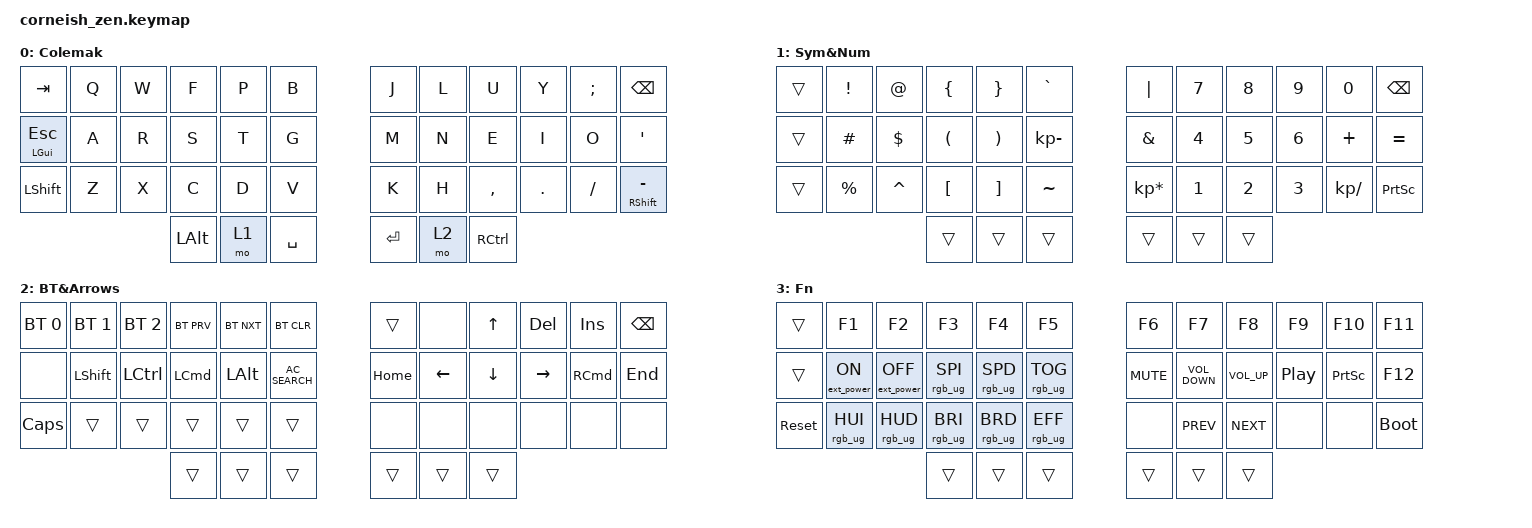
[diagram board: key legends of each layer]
/*
 * Copyright (c) 2020 The ZMK Contributors
 *
 * SPDX-License-Identifier: MIT
 */

#include <behaviors.dtsi>
#include <dt-bindings/zmk/bt.h>
#include <dt-bindings/zmk/ext_power.h>
#include <dt-bindings/zmk/keys.h>
#include <dt-bindings/zmk/rgb.h>

/ {
    chosen {
        zmk,matrix_transform = &default_transform;

        // zmk,matrix_transform = &five_column_transform;
    };
};

/ {
    behaviors {
        td0: td0 {
            compatible = "zmk,behavior-tap-dance";
            label = "TD0";
            #binding-cells = <0>;
            bindings = <&kp LEFT_SHIFT>, <&kp CAPS>;
        };
    };

    keymap {
        compatible = "zmk,keymap";

        default_layer {
            display-name = "Colemak";

            // --------------------------------------------------------------------------------
            // |  TAB |  Q  |  W  |  E  |  R  |  T  |   |  Y  |  U   |  I  |  O  |  P  | BKSP |
            // | CTRL |  A  |  S  |  D  |  F  |  G  |   |  H  |  J   |  K  |  L  |  ;  |  '   | 
            // | SHFT |  Z  |  X  |  C  |  V  |  B  |   |  N  |  M   |  ,  |  .  |  /  | ESC  |
            //                    | GUI | LWR | SPC |   | ENT | RSE  | ALT |

            bindings = <
&kp TAB           &kp Q  &kp W  &kp F     &kp P  &kp B        &kp J      &kp L  &kp U      &kp Y    &kp SEMICOLON  &kp BSPC
&mt LEFT_GUI ESC  &kp A  &kp R  &kp S     &kp T  &kp G        &kp M      &kp N  &kp E      &kp I    &kp O          &kp SQT
&kp LSHIFT        &kp Z  &kp X  &kp C     &kp D  &kp V        &kp K      &kp H  &kp COMMA  &kp DOT  &kp FSLH       &mt RIGHT_SHIFT MINUS
                                &kp LALT  &mo 1  &kp SPACE    &kp ENTER  &mo 2  &kp RCTRL
            >;
        };

        lower_layer {
            display-name = "Sym&Num";

            // -----------------------------------------------------------------------------------------
            // |  TAB |  1  |  2  |  3  |  4  |  5  |   |  6  |  7  |  8  |  9  |  0  | BKSP |
            // | BTCLR| BT1 | BT2 | BT3 | BT4 | BT5 |   | LFT | DWN |  UP | RGT |     |      |
            // | SHFT |     |     |     |     |     |   |     |     |     |     |     |      |
            //                    | GUI |     | SPC |   | ENT |     | ALT |

            bindings = <
&trans  &kp EXCLAMATION  &kp AT_SIGN  &kp LEFT_BRACE        &kp RIGHT_BRACE        &kp GRAVE       &kp PIPE         &kp N7        &kp N8        &kp N9        &kp N0         &kp BSPC
&trans  &kp HASH         &kp DOLLAR   &kp LEFT_PARENTHESIS  &kp RIGHT_PARENTHESIS  &kp KP_MINUS    &kp AMPERSAND    &kp NUMBER_4  &kp N5        &kp NUMBER_6  &kp PLUS       &kp EQUAL
&trans  &kp PERCENT      &kp CARET    &kp LEFT_BRACKET      &kp RIGHT_BRACKET      &kp TILDE       &kp KP_MULTIPLY  &kp NUMBER_1  &kp NUMBER_2  &kp NUMBER_3  &kp KP_DIVIDE  &kp PRINTSCREEN
                                      &trans                &trans                 &trans          &trans           &trans        &trans
            >;
        };

        raise_layer {
            display-name = "BT&Arrows";

            // -----------------------------------------------------------------------------------------
            // |  TAB |  !  |  @  |  #  |  $  |  %  |   |  ^  |  &  |  *  |  (  |  )  | BKSP |
            // | CTRL |     |     |     |     |     |   |  -  |  =  |  [  |  ]  |  \  |  `   |
            // | SHFT |     |     |     |     |     |   |  _  |  +  |  {  |  }  | "|" |  ~   |
            //                    | GUI |     | SPC |   | ENT |     | ALT |

            bindings = <
&bt BT_SEL 0  &bt BT_SEL 1  &bt BT_SEL 2      &bt BT_PRV        &bt BT_NXT  &bt BT_CLR         &trans    &none     &kp UP_ARROW  &kp DELETE  &kp INS            &kp BSPC
&none         &kp LSHIFT    &kp LEFT_CONTROL  &kp LEFT_COMMAND  &kp LALT    &kp C_AC_SEARCH    &kp HOME  &kp LEFT  &kp DOWN      &kp RIGHT   &kp RIGHT_COMMAND  &kp END
&kp CAPS      &trans        &trans            &trans            &trans      &trans             &none     &none     &none         &none       &none              &none
                                              &trans            &trans      &trans             &trans    &trans    &trans
            >;
        };

        layer_3 {
            display-name = "Fn";
            bindings = <
&trans      &kp F1            &kp F2             &kp F3           &kp F4           &kp F5             &kp F6      &kp F7             &kp F8           &kp F9            &kp F10          &kp F11
&trans      &ext_power EP_ON  &ext_power EP_OFF  &rgb_ug RGB_SPI  &rgb_ug RGB_SPD  &rgb_ug RGB_TOG    &kp K_MUTE  &kp C_VOLUME_DOWN  &kp C_VOLUME_UP  &kp C_PLAY_PAUSE  &kp PRINTSCREEN  &kp F12
&sys_reset  &rgb_ug RGB_HUI   &rgb_ug RGB_HUD    &rgb_ug RGB_BRI  &rgb_ug RGB_BRD  &rgb_ug RGB_EFF    &none       &kp K_PREV         &kp K_NEXT       &none             &none            &bootloader
                                                 &trans           &trans           &trans             &trans      &trans             &trans
            >;
        };
    };

    conditional_layers {
        compatible = "zmk,conditional-layers";

        ShowFN {
            if-layers = <1 2>;
            then-layer = <3>;
        };
    };
};
